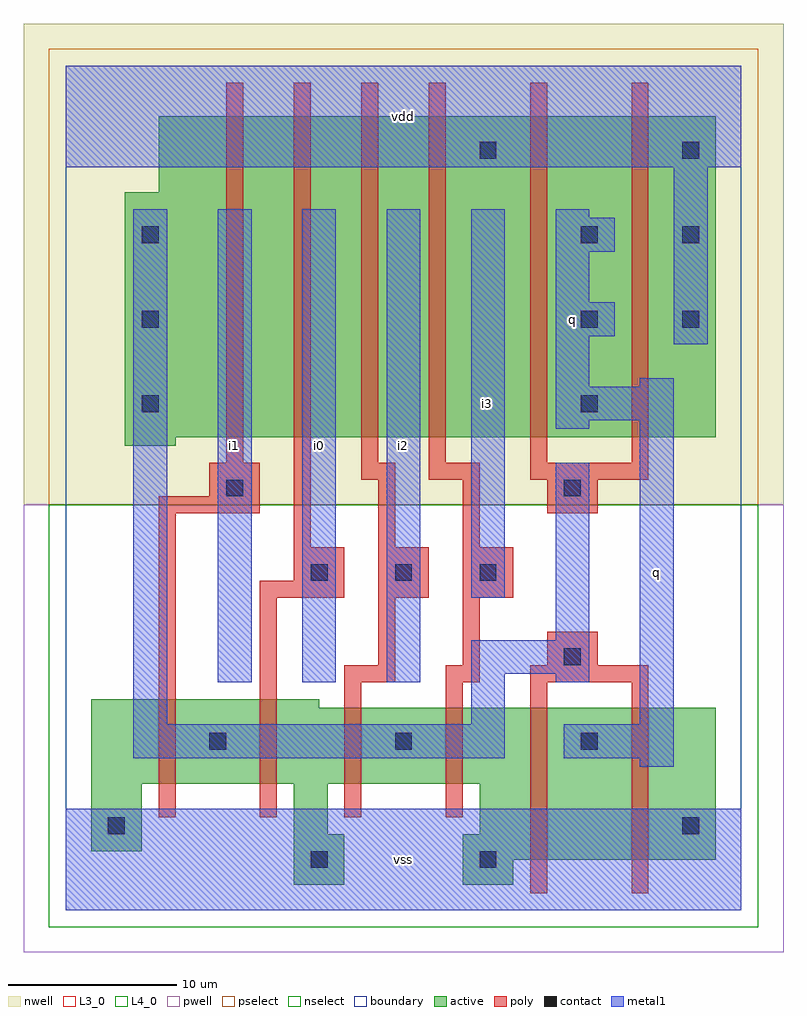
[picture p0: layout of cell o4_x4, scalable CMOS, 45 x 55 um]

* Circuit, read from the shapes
.subckt o4_x4 i0 i1 i2 i3 q vdd vss
M1 n1 i1 vss VSUBS nfet w=5u l=1u
M2 vss i0 n1 VSUBS nfet w=5u l=1u
M3 n1 i2 vss VSUBS nfet w=4.5u l=1u
M4 vss i3 n1 VSUBS nfet w=4.5u l=1u
M5 q n1 vss VSUBS nfet w=9u l=1u m=2
M6 n2 i1 n1 n3 pfet w=19u l=1u
M7 n4 i0 n2 n3 pfet w=19u l=1u
M8 n5 i2 n4 n3 pfet w=19u l=1u
M9 vdd i3 n5 n3 pfet w=19u l=1u
M10 q n1 vdd n3 pfet w=19u l=1u m=2
.ends

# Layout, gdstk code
import gdstk
lib = gdstk.Library(unit=1e-6, precision=1e-09)
def R(c, l, rs):  # rectangles x0, y0, x1, y1
    for r in rs: c.add(gdstk.rectangle(r[:2], r[2:], *l))
def A(c, l, x, y, w, h, nx, ny, dx, dy):  # array of equal rectangles
    R(c, l, [(x+i*dx, y+j*dy, x+i*dx+w, y+j*dy+h) for i in range(nx) for j in range(ny)])
L3_0 = (3, 0)
L4_0 = (4, 0)
contact = (25, 0)
pwell = (41, 0)
nwell = (42, 0)
active = (43, 0)
pselect = (44, 0)
nselect = (45, 0)
poly = (46, 0)
metal1 = (49, 0)
boundary = (63, 0)

o4_x4 = lib.new_cell('o4_x4')
R(o4_x4, L3_0, [(13.5,1.5,16.5,4.5), (23.5,1.5,26.5,3), (23.5,3,38.5,4.5), (1.5,3.5,4.5,7.5), (13.5,4.5,15.5,7.5), (24.5,4.5,38.5,7.5), (1.5,7.5,38.5,12), (1.5,12,15,12.5)])
R(o4_x4, L4_0, [(3.5,27.5,6.5,28), (3.5,28,38.5,42.5), (5.5,42.5,38.5,47)])
A(o4_x4, contact, 8.5, 9.5, 1, 1, 3, 1, 11, 0)
A(o4_x4, contact, 14.5, 19.5, 1, 1, 3, 1, 5, 0)
A(o4_x4, contact, 4.5, 29.5, 1, 1, 1, 3, 0, 5)
A(o4_x4, contact, 30.5, 29.5, 1, 1, 1, 3, 0, 5)
A(o4_x4, contact, 36.5, 34.5, 1, 1, 1, 3, 0, 5)
R(o4_x4, contact, [(14.5,2.5,15.5,3.5), (24.5,2.5,25.5,3.5), (2.5,4.5,3.5,5.5), (36.5,4.5,37.5,5.5), (29.5,14.5,30.5,15.5), (9.5,24.5,10.5,25.5), (29.5,24.5,30.5,25.5), (24.5,44.5,25.5,45.5)])
R(o4_x4, pwell, [(-2.5,-2.5,42.5,24)])
R(o4_x4, nwell, [(-2.5,24,42.5,52.5)])
R(o4_x4, active, [(13.5,1.5,16.5,4.5), (23.5,1.5,26.5,3), (23.5,3,38.5,4.5), (1.5,3.5,4.5,7.5), (13.5,4.5,15.5,7.5), (24.5,4.5,38.5,7.5), (1.5,7.5,38.5,12), (1.5,12,15,12.5), (3.5,27.5,6.5,28), (3.5,28,38.5,42.5), (5.5,42.5,38.5,47)])
R(o4_x4, pselect, [(-1,24,41,51)])
R(o4_x4, nselect, [(-1,-1,41,24)])
A(o4_x4, poly, 21.5, 26.5, 1, 22.5, 3, 1, 6, 0)
R(o4_x4, poly, [(27.5,1,28.5,13.5), (33.5,1,34.5,13.5), (5.5,5.5,6.5,23.5), (11.5,5.5,12.5,18.5), (16.5,5.5,17.5,13.5), (22.5,5.5,23.5,13.5), (16.5,13.5,19.5,14.5), (22.5,13.5,24.5,14.5), (27.5,13.5,34.5,14.5), (18.5,14.5,19.5,18.5), (23.5,14.5,24.5,18.5), (28.5,14.5,31.5,16.5), (11.5,18.5,16.5,19.5), (18.5,18.5,21.5,21.5), (23.5,18.5,26.5,21.5), (13.5,19.5,16.5,21.5), (13.5,21.5,14.5,49), (18.5,21.5,19.5,25.5), (23.5,21.5,24.5,25.5), (5.5,23.5,11.5,24.5), (28.5,23.5,31.5,25.5), (8.5,24.5,11.5,26.5), (17.5,25.5,19.5,26.5), (21.5,25.5,24.5,26.5), (27.5,25.5,34.5,26.5), (9.5,26.5,10.5,49), (17.5,26.5,18.5,49)])
R(o4_x4, metal1, [(0,0,40,6), (0,0,40,6), (34,8.5,36,9), (34,8.5,36,9), (4,9,26,11), (4,9,26,11), (29.5,9,36,11), (29.5,9,36,11), (4,11,6,41.5), (4,11,6,41.5), (24,11,26,14), (24,11,26,14), (34,11,36,29), (34,11,36,29), (9,13.5,11,41.5), (9,13.5,11,41.5), (14,13.5,16,41.5), (14,13.5,16,41.5), (19,13.5,21,41.5), (19,13.5,21,41.5), (29,13.5,31,14), (29,13.5,31,14), (24,14,31,16), (24,14,31,16), (29,16,31,26.5), (29,16,31,26.5), (24,18.5,26,41.5), (24,18.5,26,41.5), (29,28.5,31,29), (29,28.5,31,29), (29,29,36,31), (29,29,36,31), (29,31,31,34), (29,31,31,34), (34,31,36,31.5), (34,31,36,31.5), (36,33.5,38,44), (36,33.5,38,44), (29,34,32.5,36), (29,34,32.5,36), (29,36,31,39), (29,36,31,39), (29,39,32.5,41), (29,39,32.5,41), (29,41,31,41.5), (29,41,31,41.5), (0,44,40,50), (0,44,40,50)])
R(o4_x4, boundary, [(0,0,40,50)])
o4_x4.add(gdstk.Label('i1', (10,27.5), layer=49, texttype=0))
o4_x4.add(gdstk.Label('i0', (15,27.5), layer=49, texttype=0))
o4_x4.add(gdstk.Label('vss', (20,3), layer=49, texttype=0))
o4_x4.add(gdstk.Label('i2', (20,27.5), layer=49, texttype=0))
o4_x4.add(gdstk.Label('i3', (25,30), layer=49, texttype=0))
o4_x4.add(gdstk.Label('vdd', (20,47), layer=49, texttype=0))
o4_x4.add(gdstk.Label('q', (35,20), layer=49, texttype=0))
o4_x4.add(gdstk.Label('q', (30,35), layer=49, texttype=0))

lib.write_gds('o4_x4.gds')
